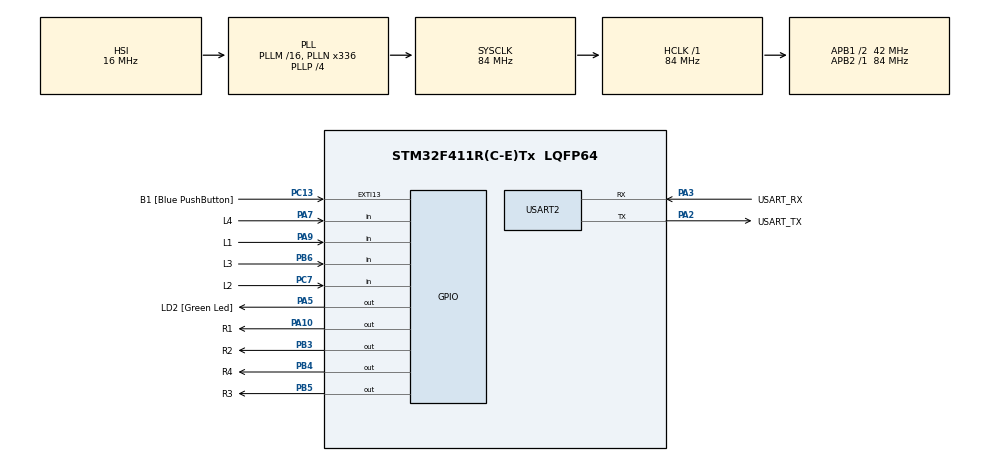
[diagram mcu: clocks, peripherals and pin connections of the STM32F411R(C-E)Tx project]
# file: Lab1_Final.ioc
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Mcu.Family=STM32F4
Mcu.Name=STM32F411R(C-E)Tx
Mcu.Package=LQFP64
NVIC.PriorityGroup=NVIC_PRIORITYGROUP_0
PA10.GPIO_Label=R1
PA10.GPIO_PuPd=GPIO_NOPULL
PA10.Signal=GPIO_Output
PA13.GPIO_Label=TMS
PA13.Mode=Serial_Wire
PA13.Signal=SYS_JTMS-SWDIO
PA14.GPIO_Label=TCK
PA14.Mode=Serial_Wire
PA14.Signal=SYS_JTCK-SWCLK
PA2.GPIO_Label=USART_TX
PA2.Mode=Asynchronous
PA2.Signal=USART2_TX
PA3.GPIO_Label=USART_RX
PA3.Mode=Asynchronous
PA3.Signal=USART2_RX
PA5.GPIO_Label=LD2 [Green Led]
PA5.Signal=GPIO_Output
PA7.GPIO_Label=L4
PA7.GPIO_PuPd=GPIO_PULLUP
PA7.Signal=GPIO_Input
PA9.GPIO_Label=L1
PA9.GPIO_PuPd=GPIO_PULLUP
PA9.Signal=GPIO_Input
PB3.GPIO_Label=R2
PB3.Signal=GPIO_Output
PB4.GPIO_Label=R4
PB4.Signal=GPIO_Output
PB5.GPIO_Label=R3
PB5.Signal=GPIO_Output
PB6.GPIO_Label=L3
PB6.GPIO_PuPd=GPIO_PULLUP
PB6.Signal=GPIO_Input
PC13-ANTI_TAMP.GPIO_Label=B1 [Blue PushButton]
PC13-ANTI_TAMP.GPIO_ModeDefaultEXTI=GPIO_MODE_IT_FALLING
PC13-ANTI_TAMP.Signal=GPXTI13
PC14-OSC32_IN.Mode=LSE-External-Oscillator
PC14-OSC32_IN.Signal=RCC_OSC32_IN
PC15-OSC32_OUT.Mode=LSE-External-Oscillator
PC15-OSC32_OUT.Signal=RCC_OSC32_OUT
PC7.GPIO_Label=L2
PC7.GPIO_PuPd=GPIO_PULLUP
PC7.Signal=GPIO_Input
PH0\ -\ OSC_IN.Mode=HSE-External-Clock-Source
PH0\ -\ OSC_IN.Signal=RCC_OSC_IN
PH1\ -\ OSC_OUT.Mode=HSE-External-Clock-Source
PH1\ -\ OSC_OUT.Signal=RCC_OSC_OUT
ProjectManager.HeapSize=0x200
ProjectManager.StackSize=0x400
ProjectManager.TargetToolchain=STM32CubeIDE
RCC.48MHZClocksFreq_Value=84000000
RCC.AHBFreq_Value=84000000
RCC.APB1CLKDivider=RCC_HCLK_DIV2
RCC.APB1Freq_Value=42000000
RCC.APB1TimFreq_Value=84000000
RCC.APB2Freq_Value=84000000
RCC.APB2TimFreq_Value=84000000
RCC.CortexFreq_Value=84000000
RCC.FLatency-AdvancedSettings=FLASH_LATENCY_2
RCC.HCLKFreq_Value=84000000
RCC.HSE_VALUE=8000000
RCC.HSI_VALUE=16000000
RCC.PLLN=336
RCC.PLLP=RCC_PLLP_DIV4
RCC.SYSCLKFreq_VALUE=84000000
RCC.SYSCLKSource=RCC_SYSCLKSOURCE_PLLCLK
RCC.VCOOutputFreq_Value=336000000
USART2.VirtualMode=VM_ASYNC
board=NUCLEO-F411RE

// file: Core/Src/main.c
/* USER CODE BEGIN Header */
/**
  ******************************************************************************
  * @file           : main.c
  * @brief          : Main program body
  ******************************************************************************
  * @attention
  *
  * Copyright (c) 2023 STMicroelectronics.
  * All rights reserved.
  *
  * This software is licensed under terms that can be found in the LICENSE file
  * in the root directory of this software component.
  * If no LICENSE file comes with this software, it is provided AS-IS.
  *
  ******************************************************************************
  */
/* USER CODE END Header */
#include "main.h"

UART_HandleTypeDef huart2;

/* USER CODE BEGIN PV */
typedef struct _PortPin
{
 GPIO_TypeDef* PORT;
 uint16_t PIN;
}PortPin;

PortPin R[4] =
{
  { GPIOA, GPIO_PIN_10 },
  { GPIOB, GPIO_PIN_3 } ,
  { GPIOB, GPIO_PIN_5 } ,
  { GPIOB, GPIO_PIN_4 }
};

PortPin L[4] =
{   { GPIOA, GPIO_PIN_9 },
  { GPIOC, GPIO_PIN_7 },
  { GPIOB, GPIO_PIN_6 },
  { GPIOA, GPIO_PIN_7 }
};

uint16_t ButtonMatrix = 0;
uint16_t BttM_C = 0;
uint16_t BttM_L = 0;
uint16_t PUNValuable = 0;
uint16_t state = 0;
uint16_t ArValue[11];
/* USER CODE END PV */

void SystemClock_Config(void);
static void MX_GPIO_Init(void);
static void MX_USART2_UART_Init(void);

int main(void)
{

  /* MCU Configuration--------------------------------------------------------*/

  /* Reset of all peripherals, Initializes the Flash interface and the Systick. */
  HAL_Init();

  /* Configure the system clock */
  SystemClock_Config();

  /* Initialize all configured peripherals */
  MX_GPIO_Init();
  MX_USART2_UART_Init();

  /* Infinite loop */
  while (1)
  {

    /* USER CODE BEGIN 3 */
	  static uint32_t timestamp = 0;
	  	     if(HAL_GetTick()>=timestamp)
	  	     {
	  	      timestamp = HAL_GetTick() + 10;
	  	      ReadMatrixButton_1Row();
	  	      BttM_C = ButtonMatrix;

	  	     }
	  	     if(BttM_L == 0 && BttM_C != 0){
	  	     	    	  PUNValuable = 1;
	  	     	      }
	  	     	      else{
	  	     	    	  PUNValuable = 0;
	  	     	      }
	  	     	      BttM_L = BttM_C;
	  	     switch(state)
	  	     {
	  	     case 0:
	  	    	 if(ButtonMatrix == 512 & PUNValuable == 1)
	  	    	 {
	  	    		 ArValue[0] = 6;
	  	    		 state = 1;
	  	    	 }
	  	    	 else if(ButtonMatrix != 512 & PUNValuable == 1)
	  	    			 {
	  	    		  state = 12;
	  	    			 }
	  	    	 break ;
	  	     case 1:
	  	    	 if(ButtonMatrix == 2 & PUNValuable == 1)
	  	    	 {
	  				ArValue[1] = 4;
	  				state = 2;
	  			 }
	  	    	 else if (ButtonMatrix != 2 & PUNValuable == 1)
	  	    	 {
	  	    		 state = 12;
	  			 }
	  	    	 break ;
	  	     case 2:
	  			if (ButtonMatrix == 1024 & PUNValuable == 1) {
	  				ArValue[2] = 3;
	  				state = 20;
	  			}
	  			else if (ButtonMatrix != 1024 & PUNValuable == 1)
	  			{
	  				state = 12;
	  			}
	  			break ;
	  		case 20:
	  			if (ButtonMatrix == 2 & PUNValuable == 1) {
	  				ArValue[10] = 4;
	  				state = 3;
	  			}
	  			else if (ButtonMatrix != 2 & PUNValuable == 1)
	  			{
	  				state = 12;
	  			}
	  			break;
	  		case 3:
	  			if (ButtonMatrix == 8 & PUNValuable == 1) {
	  				ArValue[3] = 0;
	  				state = 4;
	  			} else if (ButtonMatrix != 8 & PUNValuable == 1)
	  			{
	  				state = 12;
	  			}
	  			break ;
	  		case 4:
	  			if (ButtonMatrix == 32 & PUNValuable == 1) {
	  				ArValue[4] = 5;
	  				state = 5;
	  			}
	  			else if (ButtonMatrix != 32 & PUNValuable == 1)
	  			{
	  				state = 12;
	  			}
	  			break ;
	  		case 5:
	  			if (ButtonMatrix == 8 & PUNValuable == 1) {
	  				ArValue[5] = 0;
	  				state = 6;
	  			}
	  			else if (ButtonMatrix != 8 & PUNValuable == 1)
	  			{
	  				state = 12;
	  			}
	  			break ;
	  		case 6:
	  			if (ButtonMatrix == 8 & PUNValuable == 1) {
	  				ArValue[6] = 0;
	  				state = 7;
	  			}
	  			else if (ButtonMatrix != 8 & PUNValuable == 1)
	  			{
	  				state = 12;
	  			}
	  			break ;
	  		case 7:
	  			if (ButtonMatrix == 8 & PUNValuable == 1) {
	  				ArValue[7] = 0;
	  				state = 8;
	  			}
	  			else if (ButtonMatrix != 8 & PUNValuable == 1)
	  			{
	  				state = 12;
	  			}
	  			break ;
	  		case 8:
	  			if (ButtonMatrix == 512 & PUNValuable == 1) {
	  				ArValue[8] = 6;
	  				state = 9;
	  			}
	  			else if (ButtonMatrix != 512 & PUNValuable == 1)
	  			{
	  				state = 12;
	  			}
	  			break ;
	  		case 9:
	  			if (ButtonMatrix == 16 & PUNValuable == 1) {
	  				ArValue[9] = 8;
	  				state = 10;
	  			} else if (ButtonMatrix != 16 & PUNValuable == 1)
	  			{
	  				state = 12;
	  			}
	  			break ;
	  		case 10:
	  			if (ButtonMatrix == 32768 & PUNValuable == 1)
	  			{
	  				state = 11;
	  			} else if (ButtonMatrix != 32768 & PUNValuable == 1)
	  			{
	  				state = 12;
	  			}
	  			break ;
	  		case 11:
	  			HAL_GPIO_WritePin(GPIOA, GPIO_PIN_5, GPIO_PIN_SET);
	  			if (ButtonMatrix == 4096 & PUNValuable == 1)
	  			{
	  				state = 0;
	  				HAL_GPIO_WritePin(GPIOA, GPIO_PIN_5, GPIO_PIN_RESET);
	  			}
	  			break ;
	  		case 12:
	  			if (ButtonMatrix == 4096 & PUNValuable == 1)
	  			{
	  				state = 0;
	  				ArValue[0] = 0;
	  				ArValue[1] = 0;
	  				ArValue[2] = 0;
	  				ArValue[3] = 0;
	  				ArValue[4] = 0;
	  				ArValue[5] = 0;
	  				ArValue[6] = 0;
	  				ArValue[7] = 0;
	  				ArValue[8] = 0;
	  				ArValue[9] = 0;
	  				ArValue[10] = 0;
	  			}
	  			break ;
	  	     }
  }
  /* USER CODE END 3 */
}

void SystemClock_Config(void)
{
  RCC_OscInitTypeDef RCC_OscInitStruct = {0};
  RCC_ClkInitTypeDef RCC_ClkInitStruct = {0};

  /** Configure the main internal regulator output voltage
  */
  __HAL_RCC_PWR_CLK_ENABLE();
  __HAL_PWR_VOLTAGESCALING_CONFIG(PWR_REGULATOR_VOLTAGE_SCALE1);

  /** Initializes the RCC Oscillators according to the specified parameters
  * in the RCC_OscInitTypeDef structure.
  */
  RCC_OscInitStruct.OscillatorType = RCC_OSCILLATORTYPE_HSI;
  RCC_OscInitStruct.HSIState = RCC_HSI_ON;
  RCC_OscInitStruct.HSICalibrationValue = RCC_HSICALIBRATION_DEFAULT;
  RCC_OscInitStruct.PLL.PLLState = RCC_PLL_ON;
  RCC_OscInitStruct.PLL.PLLSource = RCC_PLLSOURCE_HSI;
  RCC_OscInitStruct.PLL.PLLM = 16;
  RCC_OscInitStruct.PLL.PLLN = 336;
  RCC_OscInitStruct.PLL.PLLP = RCC_PLLP_DIV4;
  RCC_OscInitStruct.PLL.PLLQ = 4;
  if (HAL_RCC_OscConfig(&RCC_OscInitStruct) != HAL_OK)
  {
    Error_Handler();
  }

  /** Initializes the CPU, AHB and APB buses clocks
  */
  RCC_ClkInitStruct.ClockType = RCC_CLOCKTYPE_HCLK|RCC_CLOCKTYPE_SYSCLK
                              |RCC_CLOCKTYPE_PCLK1|RCC_CLOCKTYPE_PCLK2;
  RCC_ClkInitStruct.SYSCLKSource = RCC_SYSCLKSOURCE_PLLCLK;
  RCC_ClkInitStruct.AHBCLKDivider = RCC_SYSCLK_DIV1;
  RCC_ClkInitStruct.APB1CLKDivider = RCC_HCLK_DIV2;
  RCC_ClkInitStruct.APB2CLKDivider = RCC_HCLK_DIV1;

  if (HAL_RCC_ClockConfig(&RCC_ClkInitStruct, FLASH_LATENCY_2) != HAL_OK)
  {
    Error_Handler();
  }
}

static void MX_USART2_UART_Init(void)
{

  huart2.Instance = USART2;
  huart2.Init.BaudRate = 115200;
  huart2.Init.WordLength = UART_WORDLENGTH_8B;
  huart2.Init.StopBits = UART_STOPBITS_1;
  huart2.Init.Parity = UART_PARITY_NONE;
  huart2.Init.Mode = UART_MODE_TX_RX;
  huart2.Init.HwFlowCtl = UART_HWCONTROL_NONE;
  huart2.Init.OverSampling = UART_OVERSAMPLING_16;
  if (HAL_UART_Init(&huart2) != HAL_OK)
  {
    Error_Handler();
  }

}

static void MX_GPIO_Init(void)
{
  GPIO_InitTypeDef GPIO_InitStruct = {0};

  /* GPIO Ports Clock Enable */
  __HAL_RCC_GPIOC_CLK_ENABLE();
  __HAL_RCC_GPIOH_CLK_ENABLE();
  __HAL_RCC_GPIOA_CLK_ENABLE();
  __HAL_RCC_GPIOB_CLK_ENABLE();

  /*Configure GPIO pin Output Level */
  HAL_GPIO_WritePin(GPIOA, LD2_Pin|R1_Pin, GPIO_PIN_RESET);

  /*Configure GPIO pin Output Level */
  HAL_GPIO_WritePin(GPIOB, R2_Pin|R4_Pin|R3_Pin, GPIO_PIN_RESET);

  /*Configure GPIO pin : B1_Pin */
  GPIO_InitStruct.Pin = B1_Pin;
  GPIO_InitStruct.Mode = GPIO_MODE_IT_FALLING;
  GPIO_InitStruct.Pull = GPIO_NOPULL;
  HAL_GPIO_Init(B1_GPIO_Port, &GPIO_InitStruct);

  /*Configure GPIO pins : LD2_Pin R1_Pin */
  GPIO_InitStruct.Pin = LD2_Pin|R1_Pin;
  GPIO_InitStruct.Mode = GPIO_MODE_OUTPUT_PP;
  GPIO_InitStruct.Pull = GPIO_NOPULL;
  GPIO_InitStruct.Speed = GPIO_SPEED_FREQ_LOW;
  HAL_GPIO_Init(GPIOA, &GPIO_InitStruct);

  /*Configure GPIO pins : L4_Pin L1_Pin */
  GPIO_InitStruct.Pin = L4_Pin|L1_Pin;
  GPIO_InitStruct.Mode = GPIO_MODE_INPUT;
  GPIO_InitStruct.Pull = GPIO_PULLUP;
  HAL_GPIO_Init(GPIOA, &GPIO_InitStruct);

  /*Configure GPIO pin : L2_Pin */
  GPIO_InitStruct.Pin = L2_Pin;
  GPIO_InitStruct.Mode = GPIO_MODE_INPUT;
  GPIO_InitStruct.Pull = GPIO_PULLUP;
  HAL_GPIO_Init(L2_GPIO_Port, &GPIO_InitStruct);

  /*Configure GPIO pins : R2_Pin R4_Pin R3_Pin */
  GPIO_InitStruct.Pin = R2_Pin|R4_Pin|R3_Pin;
  GPIO_InitStruct.Mode = GPIO_MODE_OUTPUT_PP;
  GPIO_InitStruct.Pull = GPIO_NOPULL;
  GPIO_InitStruct.Speed = GPIO_SPEED_FREQ_LOW;
  HAL_GPIO_Init(GPIOB, &GPIO_InitStruct);

  /*Configure GPIO pin : L3_Pin */
  GPIO_InitStruct.Pin = L3_Pin;
  GPIO_InitStruct.Mode = GPIO_MODE_INPUT;
  GPIO_InitStruct.Pull = GPIO_PULLUP;
  HAL_GPIO_Init(L3_GPIO_Port, &GPIO_InitStruct);

}

/* USER CODE BEGIN 4 */
void ReadMatrixButton_1Row()
{
    static uint8_t X = 0;
    register int i;
    for (i = 0; i < 4; i++) {
        if(HAL_GPIO_ReadPin(L[i].PORT, L[i].PIN))
        {
            ButtonMatrix &= ~(1 << (X * 4 + i));
        } else
        {
            ButtonMatrix |= 1 << (X * 4 + i);
        }
    }
    HAL_GPIO_WritePin(R[X].PORT, R[X].PIN, 1);
    HAL_GPIO_WritePin(R[(X + 1) % 4].PORT, R[(X + 1) % 4].PIN, 0);
    X++;
    X %= 4;
}

/* USER CODE END 4 */

void Error_Handler(void)
{
  __disable_irq();
  while (1)
  {
  }
}
